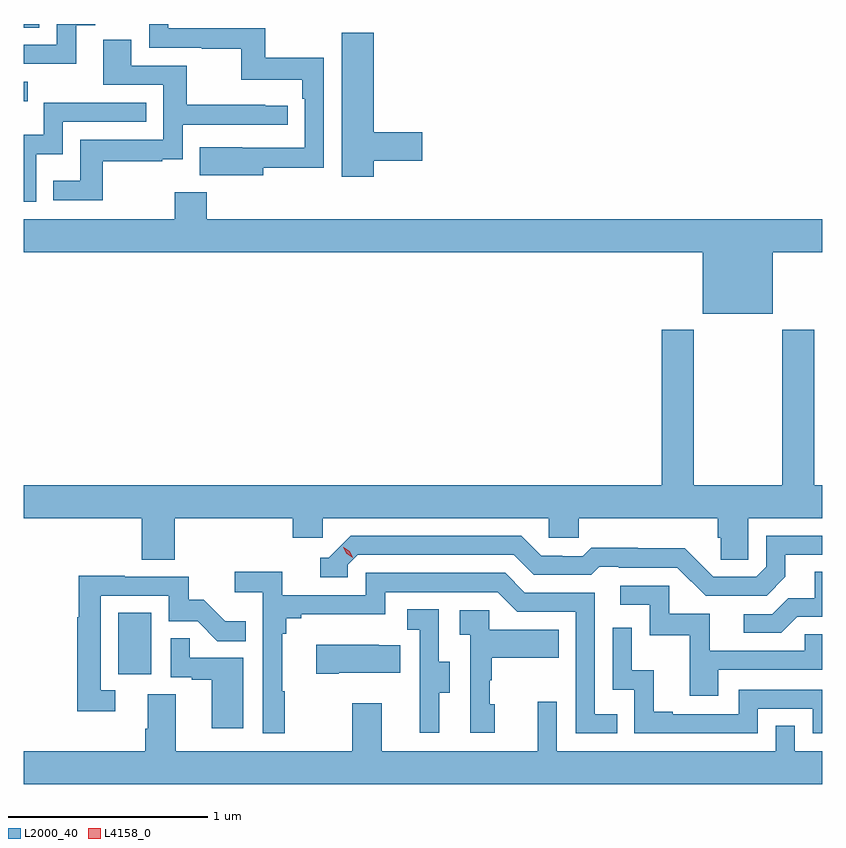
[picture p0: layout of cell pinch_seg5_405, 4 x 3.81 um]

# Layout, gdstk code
import gdstk
lib = gdstk.Library(unit=1e-6, precision=1e-09)
def R(c, l, rs):  # rectangles x0, y0, x1, y1
    for r in rs: c.add(gdstk.rectangle(r[:2], r[2:], *l))
def P(c, l, *ps):  # polygons
    for p in ps: c.add(gdstk.Polygon(p, *l))
L2000_40 = (2000, 40)
L4158_0 = (4158, 0)

pinch_seg5_405 = lib.new_cell('pinch_seg5_405')
R(pinch_seg5_405, L2000_40, [(985.61,857.31,985.774,857.617), (985.136,860.18,985.156,860.277), (985.136,860.548,985.213,860.566)])
P(pinch_seg5_405, L2000_40, [(986.335,859.846),(986.64,859.846),(986.64,860.398),(986.347,860.398),(986.347,860.544),(985.86,860.544),(985.86,860.566),(985.764,860.566),(985.764,860.448),(986.029,860.448),(986.029,860.443),(986.226,860.443),(986.226,860.288),(986.531,860.288),(986.531,860.192),(986.544,860.192),(986.544,859.947),(986.231,859.947),(986.231,859.948),(986.017,859.948),(986.017,859.808),(986.335,859.808)],
  [(985.399,860.559),(985.495,860.559),(985.495,860.566),(985.302,860.566),(985.302,860.463),(985.136,860.463),(985.136,860.367),(985.194,860.367),(985.194,860.366),(985.399,860.366)],
  [(986.89,859.882),(987.133,859.882),(987.133,860.024),(986.89,860.024),(986.89,860.521),(986.729,860.521),(986.729,859.8),(986.89,859.8)],
  [(985.531,859.878),(985.829,859.878),(985.829,859.889),(985.932,859.889),(985.932,860.061),(986.458,860.061),(986.458,860.157),(986.345,860.157),(986.345,860.162),(985.952,860.162),(985.952,860.358),(985.675,860.358),(985.675,860.486),(985.535,860.486),(985.535,860.262),(985.836,860.262),(985.836,859.986),(985.42,859.986),(985.42,859.78),(985.285,859.78),(985.285,859.683),(985.531,859.683)],
  [(985.2,859.913),(985.332,859.913),(985.332,860.076),(985.751,860.076),(985.751,860.172),(985.236,860.172),(985.236,860.011),(985.136,860.011),(985.136,859.677),(985.2,859.677)],
  [(988.888,859.424),(989.136,859.424),(989.136,859.588),(986.054,859.588),(986.054,859.723),(985.894,859.723),(985.894,859.588),(985.136,859.588),(985.136,859.424),(988.538,859.424),(988.538,859.115),(988.888,859.115)],
  [(985.892,858.092),(986.483,858.092),(986.483,857.994),(986.634,857.994),(986.634,858.092),(987.765,858.092),(987.765,857.994),(987.915,857.994),(987.915,858.092),(988.613,858.092),(988.613,857.994),(988.627,857.994),(988.627,857.884),(988.764,857.884),(988.764,858.092),(989.136,858.092),(989.136,858.256),(989.096,858.256),(989.096,859.036),(988.936,859.036),(988.936,858.256),(988.491,858.256),(988.491,859.036),(988.331,859.036),(988.331,858.256),(985.136,858.256),(985.136,858.092),(985.727,858.092),(985.727,857.884),(985.892,857.884)],
  [(988.951,857.797),(988.951,857.907),(989.136,857.907),(989.136,858.003),(988.854,858.003),(988.854,857.847),(988.806,857.799),(988.59,857.799),(988.448,857.941),(988.212,857.941),(988.212,857.944),(987.979,857.944),(987.937,857.901),(987.834,857.901),(987.834,857.904),(987.727,857.904),(987.628,858.003),(986.775,858.003),(986.664,857.892),(986.621,857.892),(986.621,857.796),(986.76,857.796),(986.76,857.859),(986.808,857.907),(987.591,857.907),(987.69,857.808),(987.979,857.808),(988.018,857.847),(988.117,857.847),(988.117,857.844),(988.41,857.844),(988.551,857.703),(988.857,857.703)],
  [(989.011,857.598),(989.136,857.598),(989.136,857.822),(989.099,857.822),(989.099,857.69),(988.964,857.69),(988.884,857.61),(988.743,857.61),(988.743,857.517),(988.93,857.517)],
  [(986.443,857.225),(986.431,857.225),(986.431,857.513),(986.45,857.513),(986.45,857.59),(986.527,857.59),(986.527,857.609),(986.946,857.609),(986.946,857.721),(987.51,857.721),(987.609,857.622),(987.9,857.622),(987.9,857.013),(988.109,857.013),(988.109,857.109),(987.996,857.109),(987.996,857.718),(987.646,857.718),(987.547,857.817),(986.85,857.817),(986.85,857.706),(986.432,857.706),(986.432,857.822),(986.193,857.822),(986.193,857.72),(986.334,857.72),(986.334,857.013),(986.443,857.013)],
  [(985.594,857.229),(985.521,857.229),(985.521,857.703),(985.863,857.703),(985.863,857.574),(986.007,857.574),(986.105,857.476),(986.249,857.476),(986.249,857.575),(986.145,857.575),(986.038,857.682),(985.962,857.682),(985.962,857.799),(985.643,857.799),(985.643,857.804),(985.413,857.804),(985.413,857.596),(985.405,857.596),(985.405,857.124),(985.594,857.124)],
  [(988.615,857.331),(989.136,857.331),(989.136,857.511),(989.047,857.511),(989.047,857.427),(988.573,857.427),(988.573,857.613),(988.368,857.613),(988.368,857.754),(988.125,857.754),(988.125,857.658),(988.272,857.658),(988.272,857.505),(988.471,857.505),(988.471,857.202),(988.615,857.202)],
  [(987.217,857.218),(987.271,857.218),(987.271,857.373),(987.216,857.373),(987.216,857.636),(987.057,857.636),(987.057,857.533),(987.12,857.533),(987.12,857.229),(987.119,857.229),(987.119,857.016),(987.217,857.016)],
  [(987.496,857.16),(987.471,857.16),(987.471,857.279),(987.481,857.279),(987.481,857.393),(987.815,857.393),(987.815,857.533),(987.468,857.533),(987.468,857.631),(987.321,857.631),(987.321,857.507),(987.372,857.507),(987.372,857.016),(987.496,857.016)],
  [(988.812,857.136),(989.088,857.136),(989.088,857.013),(989.136,857.013),(989.136,857.232),(988.716,857.232),(988.716,857.109),(988.387,857.109),(988.387,857.122),(988.292,857.122),(988.292,857.33),(988.182,857.33),(988.182,857.542),(988.086,857.542),(988.086,857.232),(988.194,857.232),(988.194,857.013),(988.812,857.013)],
  [(986.236,857.391),(985.967,857.391),(985.967,857.489),(985.872,857.489),(985.872,857.295),(985.979,857.295),(985.979,857.283),(986.078,857.283),(986.078,857.04),(986.236,857.04)],
  [(986.713,857.318),(987.023,857.318),(987.023,857.455),(986.915,857.455),(986.915,857.458),(986.601,857.458),(986.601,857.311),(986.713,857.311)],
  [(989.136,856.924),(988.998,856.924),(988.998,857.051),(988.902,857.051),(988.902,856.924),(987.807,856.924),(987.807,857.173),(987.71,857.173),(987.71,856.924),(986.929,856.924),(986.929,857.164),(986.782,857.164),(986.782,856.924),(985.897,856.924),(985.897,857.21),(985.757,857.21),(985.757,857.036),(985.745,857.036),(985.745,856.924),(985.136,856.924),(985.136,856.76),(989.136,856.76)])
P(pinch_seg5_405, L4158_0, [(986.784,857.894),(986.754,857.913),(986.737,857.945),(986.737,857.946),(986.738,857.946),(986.768,857.926),(986.785,857.894),(986.785,857.894)])

lib.write_gds('pinch_seg5_405.gds')
